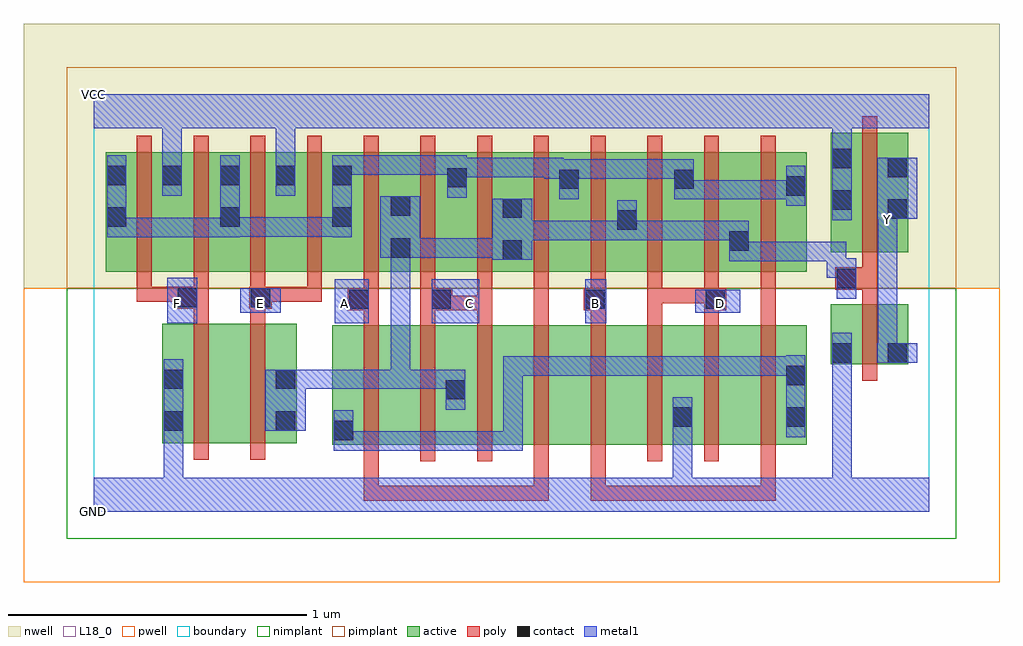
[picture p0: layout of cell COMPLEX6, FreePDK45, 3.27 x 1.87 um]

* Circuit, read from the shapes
.subckt COMPLEX6 A B C D E F GND VCC Y
M1 n1 F GND VSUBS nfet w=0.4u l=0.05u
M2 n2 E n1 VSUBS nfet w=0.4u l=0.05u
M3 n3 A n4 VSUBS nfet w=0.4u l=0.05u
M4 n2 C n3 VSUBS nfet w=0.4u l=0.05u
M5 n5 C n2 VSUBS nfet w=0.4u l=0.05u
M6 n6 A n5 VSUBS nfet w=0.4u l=0.05u
M7 n7 B n6 VSUBS nfet w=0.4u l=0.05u
M8 GND D n7 VSUBS nfet w=0.4u l=0.05u
M9 n8 D GND VSUBS nfet w=0.4u l=0.05u
M10 n4 B n8 VSUBS nfet w=0.4u l=0.05u
M11 Y n2 GND VSUBS nfet w=0.2u l=0.05u
M12 VCC F n9 n10 pfet w=0.4u l=0.05u m=2
M13 VCC E n9 n10 pfet w=0.4u l=0.05u m=2
M14 n2 A n9 n10 pfet w=0.4u l=0.05u m=2
M15 n9 C n2 n10 pfet w=0.4u l=0.05u m=2
M16 n2 B n9 n10 pfet w=0.4u l=0.05u m=2
M17 n9 D n2 n10 pfet w=0.4u l=0.05u m=2
M18 Y n2 VCC n10 pfet w=0.4u l=0.05u
.ends

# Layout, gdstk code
import gdstk
lib = gdstk.Library(unit=1e-6, precision=1e-09)
def R(c, l, rs):  # rectangles x0, y0, x1, y1
    for r in rs: c.add(gdstk.rectangle(r[:2], r[2:], *l))
def A(c, l, x, y, w, h, nx, ny, dx, dy):  # array of equal rectangles
    R(c, l, [(x+i*dx, y+j*dy, x+i*dx+w, y+j*dy+h) for i in range(nx) for j in range(ny)])
active = (1, 0)
pwell = (2, 0)
nwell = (3, 0)
nimplant = (4, 0)
pimplant = (5, 0)
poly = (9, 0)
contact = (10, 0)
metal1 = (11, 0)
L18_0 = (18, 0)
boundary = (235, 0)

complex6 = lib.new_cell('COMPLEX6')
A(complex6, active, 0.42, 0.805, 0.26, 0.4, 3, 1, 0.76, 0)
R(complex6, active, [(0.8,0.225,0.875,0.625), (0.8,0.225,1.025,0.625), (1.025,0.225,1.25,0.625), (1.175,0.225,1.405,0.625), (1.405,0.225,1.595,0.625), (1.595,0.225,1.785,0.625), (1.785,0.225,2.01,0.625), (1.935,0.225,2.165,0.625), (1.935,0.225,2.01,0.617), (2.165,0.225,2.39,0.625), (2.315,0.225,2.39,0.625), (0.23,0.23,0.455,0.63), (0.455,0.23,0.68,0.63), (0.23,0.267,0.305,0.63), (0.605,0.267,0.68,0.63), (1.175,0.295,1.25,0.617), (2.47,0.495,2.545,0.695), (2.47,0.495,2.73,0.695), (2.655,0.495,2.73,0.695), (0.04,0.805,0.3,1.205), (0.04,0.805,0.115,1.2), (0.225,0.805,0.3,1.205), (0.225,0.805,0.495,1.205), (0.605,0.805,0.87,1.205), (0.795,0.805,1.065,1.205), (0.99,0.805,1.255,1.205), (0.99,0.805,1.065,1.07), (1.365,0.805,1.63,1.205), (1.365,0.805,1.44,1.07), (1.555,0.805,1.825,1.205), (1.75,0.805,2.015,1.205), (1.75,0.805,1.825,1.07), (2.125,0.805,2.39,1.205), (2.125,0.805,2.2,1.07), (2.315,0.805,2.39,1.2), (0.605,0.847,0.68,1.205), (1.555,0.847,1.63,1.2), (2.47,0.87,2.545,1.27), (2.47,0.87,2.73,1.27), (2.655,0.87,2.73,1.2), (0.42,0.907,0.495,1.2), (0.795,0.907,0.87,1.2), (1.18,0.907,1.255,1.2), (1.94,0.907,2.015,1.2)])
R(complex6, pwell, [(-0.235,-0.235,3.035,0.75)])
R(complex6, nwell, [(-0.235,0.75,3.035,1.635)])
R(complex6, nimplant, [(-0.09,-0.09,2.89,0.75)])
R(complex6, pimplant, [(-0.09,0.75,2.89,1.49)])
A(complex6, poly, 0.905, 0.17, 0.05, 0.51, 8, 1, 0.19, 0)
A(complex6, poly, 0.905, 0.63, 0.05, 0.095, 5, 1, 0.19, 0)
A(complex6, poly, 1.665, 0.7, 0.05, 0.1, 3, 1, 0.19, 0)
A(complex6, poly, 0.145, 0.705, 0.05, 0.095, 4, 1, 0.19, 0)
A(complex6, poly, 0.145, 0.75, 0.05, 0.51, 12, 1, 0.19, 0)
R(complex6, poly, [(0.905,0.037,0.955,0.087), (0.905,0.037,0.955,0.087), (0.905,0.037,0.955,0.087), (0.905,0.037,0.955,0.22), (0.905,0.037,1.202,0.087), (1.152,0.037,1.202,0.087), (1.152,0.037,1.202,0.087), (1.152,0.037,1.202,0.087), (1.152,0.037,1.335,0.087), (1.285,0.037,1.335,0.087), (1.285,0.037,1.525,0.087), (1.475,0.037,1.525,0.087), (1.475,0.037,1.525,0.087), (1.475,0.037,1.525,0.087), (1.475,0.037,1.525,0.22), (1.665,0.037,1.715,0.087), (1.665,0.037,1.715,0.087), (1.665,0.037,1.715,0.087), (1.665,0.037,1.715,0.22), (1.665,0.037,1.962,0.087), (1.912,0.037,1.962,0.087), (1.912,0.037,1.962,0.087), (1.912,0.037,1.962,0.087), (1.912,0.037,2.152,0.087), (2.102,0.037,2.152,0.087), (2.102,0.037,2.152,0.087), (2.102,0.037,2.152,0.087), (2.102,0.037,2.285,0.087), (2.235,0.037,2.285,0.087), (2.235,0.037,2.285,0.22), (0.335,0.175,0.385,0.685), (0.525,0.175,0.575,0.685), (2.575,0.44,2.625,0.75), (1.855,0.63,1.905,0.75), (2.045,0.63,2.095,0.725), (2.235,0.63,2.285,0.725), (0.335,0.635,0.385,0.73), (0.525,0.635,0.575,0.73), (0.852,0.675,0.955,0.75), (1.095,0.675,1.202,0.75), (1.152,0.675,1.335,0.725), (1.285,0.675,1.335,0.8), (1.285,0.675,1.335,0.725), (1.285,0.675,1.335,0.725), (1.285,0.675,1.335,0.725), (1.475,0.675,1.525,0.8), (1.475,0.675,1.525,0.725), (1.642,0.675,1.717,0.75), (2.045,0.675,2.12,0.75), (2.235,0.675,2.285,0.8), (2.235,0.675,2.285,0.725), (0.277,0.68,0.385,0.755), (0.522,0.68,0.597,0.755), (0.905,0.7,0.955,0.8), (1.095,0.7,1.145,0.8), (1.855,0.7,1.905,0.75), (1.855,0.7,1.905,0.75), (1.855,0.7,1.905,0.75), (1.855,0.7,2.095,0.75), (2.575,0.7,2.625,0.795), (0.145,0.705,0.195,0.755), (0.145,0.705,0.327,0.755), (0.277,0.705,0.327,0.755), (0.277,0.705,0.327,0.755), (0.547,0.705,0.597,0.755), (0.547,0.705,0.597,0.755), (0.547,0.705,0.765,0.755), (0.715,0.705,0.765,0.755), (2.485,0.745,2.625,0.82), (2.575,0.77,2.625,0.865), (2.575,0.815,2.625,1.325)])
R(complex6, contact, [(0.805,0.24,0.87,0.305), (0.235,0.272,0.3,0.337), (0.61,0.272,0.675,0.337), (1.94,0.285,2.005,0.35), (2.32,0.285,2.385,0.35), (1.18,0.377,1.245,0.442), (0.235,0.412,0.3,0.477), (0.61,0.412,0.675,0.477), (2.32,0.425,2.385,0.49), (2.475,0.5,2.54,0.565), (2.66,0.5,2.725,0.565), (0.857,0.68,0.922,0.745), (1.132,0.68,1.197,0.745), (1.647,0.68,1.712,0.745), (2.05,0.68,2.115,0.745), (0.282,0.685,0.347,0.75), (0.527,0.685,0.592,0.75), (2.49,0.75,2.555,0.815), (1.37,0.845,1.435,0.91), (0.995,0.852,1.06,0.917), (2.13,0.875,2.195,0.94), (1.755,0.945,1.82,1.01), (0.045,0.955,0.11,1.02), (0.425,0.955,0.49,1.02), (0.8,0.955,0.865,1.02), (2.66,0.982,2.725,1.047), (1.37,0.985,1.435,1.05), (0.995,0.992,1.06,1.057), (2.475,1.012,2.54,1.077), (2.32,1.06,2.385,1.125), (1.56,1.082,1.625,1.147), (1.945,1.082,2.01,1.147), (1.185,1.087,1.25,1.152), (0.045,1.095,0.11,1.16), (0.23,1.095,0.295,1.16), (0.425,1.095,0.49,1.16), (0.61,1.095,0.675,1.16), (0.8,1.095,0.865,1.16), (2.66,1.122,2.725,1.187), (2.475,1.152,2.54,1.217)])
R(complex6, metal1, [(0,0,2.8,0.115), (0.235,0.05,0.3,0.302), (1.94,0.05,2.005,0.115), (1.94,0.05,2.005,0.115), (1.94,0.05,2.005,0.315), (2.475,0.05,2.54,0.115), (2.475,0.05,2.54,0.115), (2.475,0.05,2.54,0.115), (2.475,0.05,2.54,0.115), (2.475,0.05,2.54,0.53), (0.805,0.205,0.87,0.34), (0.805,0.205,1.007,0.27), (0.942,0.205,1.007,0.27), (0.942,0.205,1.007,0.27), (0.942,0.205,1.007,0.27), (0.942,0.205,1.25,0.27), (1.185,0.205,1.25,0.27), (1.185,0.205,1.25,0.27), (1.185,0.205,1.25,0.27), (1.185,0.205,1.437,0.27), (1.372,0.205,1.437,0.27), (1.372,0.205,1.437,0.27), (1.372,0.205,1.437,0.27), (1.372,0.205,1.437,0.522), (0.235,0.237,0.3,0.302), (0.235,0.237,0.3,0.302), (0.235,0.237,0.3,0.512), (1.94,0.25,2.005,0.385), (2.32,0.25,2.385,0.525), (0.575,0.272,0.71,0.477), (1.18,0.342,1.245,0.477), (0.645,0.412,0.71,0.477), (0.645,0.412,0.71,0.477), (0.645,0.412,0.847,0.477), (0.782,0.412,0.847,0.477), (0.782,0.412,0.847,0.477), (0.782,0.412,0.847,0.477), (0.782,0.412,1.06,0.477), (0.995,0.412,1.06,0.477), (0.995,0.412,1.06,0.477), (0.995,0.412,1.06,0.477), (0.995,0.412,1.245,0.477), (0.995,0.412,1.06,0.917), (1.18,0.412,1.245,0.477), (1.18,0.412,1.245,0.477), (1.372,0.457,1.437,0.522), (1.372,0.457,1.575,0.522), (1.51,0.457,1.575,0.522), (1.51,0.457,1.645,0.522), (1.58,0.457,1.645,0.522), (1.58,0.457,1.782,0.522), (1.717,0.457,1.782,0.522), (1.717,0.457,1.782,0.522), (1.717,0.457,1.782,0.522), (1.717,0.457,1.942,0.522), (1.877,0.457,1.942,0.522), (1.877,0.457,2.057,0.522), (1.992,0.457,2.057,0.522), (1.992,0.457,2.195,0.522), (2.13,0.457,2.195,0.522), (2.13,0.457,2.195,0.522), (2.13,0.457,2.195,0.522), (2.13,0.457,2.385,0.522), (2.32,0.457,2.385,0.522), (2.32,0.457,2.385,0.522), (2.475,0.465,2.54,0.53), (2.475,0.465,2.54,0.53), (2.475,0.465,2.54,0.6), (2.625,0.5,2.76,0.565), (2.627,0.5,2.692,0.977), (0.247,0.632,0.347,0.785), (0.807,0.632,0.922,0.78), (1.132,0.632,1.292,0.78), (1.647,0.632,1.717,0.78), (0.492,0.667,0.627,0.75), (2.015,0.667,2.167,0.745), (2.49,0.715,2.555,0.85), (2.457,0.785,2.522,0.85), (2.457,0.785,2.555,0.85), (2.457,0.785,2.522,0.905), (2.13,0.84,2.195,0.975), (2.13,0.84,2.332,0.905), (2.267,0.84,2.332,0.905), (2.267,0.84,2.332,0.905), (2.267,0.84,2.332,0.905), (2.267,0.84,2.522,0.905), (2.457,0.84,2.522,0.905), (1.335,0.845,1.47,1.05), (0.96,0.852,1.095,1.057), (1.03,0.852,1.232,0.917), (1.167,0.852,1.232,0.917), (1.167,0.852,1.232,0.917), (1.167,0.852,1.232,0.917), (1.167,0.852,1.4,0.917), (1.335,0.852,1.4,0.917), (1.335,0.852,1.4,0.917), (1.405,0.91,1.575,0.975), (1.51,0.91,1.575,0.975), (1.51,0.91,1.645,0.975), (1.58,0.91,1.645,0.975), (1.58,0.91,1.712,0.975), (1.647,0.91,1.712,0.975), (1.647,0.91,1.82,0.975), (1.755,0.91,1.82,1.045), (1.755,0.91,1.92,0.975), (1.855,0.91,1.92,0.975), (1.855,0.91,1.957,0.975), (1.892,0.91,1.957,0.975), (1.892,0.91,2.195,0.975), (2.13,0.91,2.195,0.975), (2.13,0.91,2.195,0.975), (2.627,0.912,2.692,1.047), (0.045,0.92,0.11,0.985), (0.045,0.92,0.11,0.985), (0.045,0.92,0.11,1.195), (0.045,0.92,0.247,0.985), (0.182,0.92,0.247,0.985), (0.182,0.92,0.247,0.985), (0.182,0.92,0.247,0.985), (0.182,0.92,0.49,0.985), (0.425,0.92,0.49,1.195), (0.8,0.92,0.865,1.195), (0.425,0.922,0.49,0.987), (0.425,0.922,0.49,0.987), (0.425,0.922,0.627,0.987), (0.562,0.922,0.627,0.987), (0.562,0.922,0.627,0.987), (0.562,0.922,0.627,0.987), (0.562,0.922,0.865,0.987), (2.475,0.977,2.54,1.252), (2.625,0.982,2.76,1.187), (2.627,0.982,2.692,1.047), (2.32,1.025,2.385,1.16), (1.56,1.047,1.625,1.182), (1.945,1.047,2.01,1.182), (1.945,1.047,2.195,1.112), (2.13,1.047,2.195,1.112), (2.13,1.047,2.195,1.112), (2.13,1.047,2.195,1.112), (2.13,1.047,2.385,1.112), (2.32,1.047,2.385,1.112), (2.32,1.047,2.385,1.112), (1.185,1.052,1.25,1.187), (0.23,1.06,0.295,1.195), (0.61,1.06,0.675,1.195), (1.51,1.117,1.625,1.182), (1.51,1.117,1.575,1.187), (1.56,1.117,1.782,1.182), (1.717,1.117,1.782,1.182), (1.717,1.117,1.782,1.182), (1.717,1.117,1.782,1.182), (1.717,1.117,1.92,1.182), (1.855,1.117,1.92,1.182), (1.855,1.117,2.01,1.182), (1.185,1.122,1.25,1.187), (1.185,1.122,1.387,1.187), (1.185,1.122,1.25,1.195), (1.322,1.122,1.387,1.187), (1.322,1.122,1.387,1.187), (1.322,1.122,1.387,1.187), (1.322,1.122,1.575,1.187), (0.23,1.13,0.295,1.35), (0.61,1.13,0.675,1.35), (0.8,1.13,0.865,1.195), (0.8,1.13,0.865,1.195), (0.8,1.13,0.865,1.195), (0.8,1.13,0.865,1.195), (0.8,1.13,1.095,1.195), (1.03,1.13,1.095,1.195), (1.03,1.13,1.25,1.195), (2.475,1.187,2.54,1.35), (0,1.285,2.8,1.4)])
A(complex6, L18_0, 0.247, 0.667, 0.065, 0.065, 3, 1, 0.28, 0)
A(complex6, L18_0, 1.227, 0.667, 0.065, 0.065, 3, 1, 0.42, 0)
R(complex6, L18_0, [(0,0,2.8,0.115), (0.235,0.05,0.3,0.302), (1.94,0.05,2.005,0.115), (1.94,0.05,2.005,0.115), (1.94,0.05,2.005,0.315), (2.475,0.05,2.54,0.115), (2.475,0.05,2.54,0.115), (2.475,0.05,2.54,0.115), (2.475,0.05,2.54,0.115), (2.475,0.05,2.54,0.53), (0.235,0.237,0.3,0.302), (0.235,0.237,0.3,0.302), (0.235,0.237,0.3,0.512), (1.94,0.25,2.005,0.385), (2.475,0.465,2.54,0.53), (2.475,0.465,2.54,0.53), (2.475,0.465,2.54,0.6), (2.625,0.5,2.76,0.565), (2.627,0.5,2.692,0.977), (0.247,0.632,0.347,0.785), (0.807,0.632,0.922,0.78), (1.132,0.632,1.292,0.78), (1.647,0.632,1.717,0.78), (0.492,0.667,0.627,0.75), (2.015,0.667,2.167,0.745), (2.627,0.912,2.692,1.047), (2.627,0.947,2.692,1.012), (2.475,0.977,2.54,1.252), (2.625,0.982,2.76,1.187), (2.627,0.982,2.692,1.047), (0.23,1.06,0.295,1.195), (0.61,1.06,0.675,1.195), (0.23,1.13,0.295,1.35), (0.61,1.13,0.675,1.35), (2.475,1.187,2.54,1.35), (0,1.285,2.8,1.4)])
R(complex6, boundary, [(0,0,2.8,1.4)])
complex6.add(gdstk.Label('A', (0.84,0.7), layer=11, texttype=0))
complex6.add(gdstk.Label('B', (1.68,0.7), layer=11, texttype=0))
complex6.add(gdstk.Label('C', (1.26,0.7), layer=11, texttype=0))
complex6.add(gdstk.Label('D', (2.1,0.7), layer=11, texttype=0))
complex6.add(gdstk.Label('E', (0.56,0.7), layer=11, texttype=0))
complex6.add(gdstk.Label('F', (0.28,0.7), layer=11, texttype=0))
complex6.add(gdstk.Label('Y', (2.66,0.98), layer=11, texttype=0))
complex6.add(gdstk.Label('VCC', (0,1.4), layer=11, texttype=0))
complex6.add(gdstk.Label('GND', (0,0), layer=11, texttype=0))

lib.write_gds('COMPLEX6.gds')
